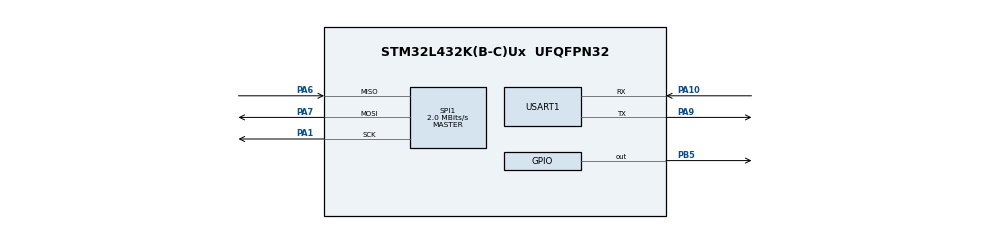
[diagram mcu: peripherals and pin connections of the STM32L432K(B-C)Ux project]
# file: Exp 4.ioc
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Mcu.Family=STM32L4
Mcu.Name=STM32L432K(B-C)Ux
Mcu.Package=UFQFPN32
NVIC.PriorityGroup=NVIC_PRIORITYGROUP_4
NVIC.RCC_IRQn=true\:0\:0\:false\:false\:true\:true\:false
PA1.Mode=Full_Duplex_Master
PA1.Signal=SPI1_SCK
PA10.Mode=Asynchronous
PA10.Signal=USART1_RX
PA13\ (JTMS-SWDIO).Mode=Serial_Wire
PA13\ (JTMS-SWDIO).Signal=SYS_JTMS-SWDIO
PA14\ (JTCK-SWCLK).Mode=Serial_Wire
PA14\ (JTCK-SWCLK).Signal=SYS_JTCK-SWCLK
PA6.Mode=Full_Duplex_Master
PA6.Signal=SPI1_MISO
PA7.Mode=Full_Duplex_Master
PA7.Signal=SPI1_MOSI
PA9.Mode=Asynchronous
PA9.Signal=USART1_TX
PB5.Signal=GPIO_Output
PC14-OSC32_IN\ (PC14).Mode=LSE-External-Oscillator
PC14-OSC32_IN\ (PC14).Signal=RCC_OSC32_IN
PC15-OSC32_OUT\ (PC15).Mode=LSE-External-Oscillator
PC15-OSC32_OUT\ (PC15).Signal=RCC_OSC32_OUT
ProjectManager.HeapSize=0x200
ProjectManager.StackSize=0x400
ProjectManager.TargetToolchain=MDK-ARM V5
RCC.HSE_VALUE=8000000
RCC.HSI48_VALUE=48000000
RCC.HSI_VALUE=16000000
RCC.MSI_VALUE=4000000
RCC.VCOOutputFreq_Value=32000000
SPI1.CalculateBaudRate=2.0 MBits/s
SPI1.Direction=SPI_DIRECTION_2LINES
SPI1.Mode=SPI_MODE_MASTER
SPI1.VirtualType=VM_MASTER
USART1.VirtualMode-Asynchronous=VM_ASYNC
board=custom

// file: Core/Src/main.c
/* USER CODE BEGIN Header */
/**
  ******************************************************************************
  * @file           : main.c
  * @brief          : Main program body
  ******************************************************************************
  * @attention
  *
  * <h2><center>&copy; Copyright (c) 2021 STMicroelectronics.
  * All rights reserved.</center></h2>
  *
  * This software component is licensed by ST under BSD 3-Clause license,
  * the "License"; You may not use this file except in compliance with the
  * License. You may obtain a copy of the License at:
  *                        opensource.org/licenses/BSD-3-Clause
  *
  ******************************************************************************
  */
/* USER CODE END Header */
#include "main.h"

SPI_HandleTypeDef hspi1;

UART_HandleTypeDef huart1;

void SystemClock_Config(void);
static void MX_GPIO_Init(void);
static void MX_SPI1_Init(void);
static void MX_USART1_UART_Init(void);

/* USER CODE BEGIN 0 */
uint8_t hexToAscii(uint8_t n)//4-bit hex value converted to an ascii character
{
 if (n>=0 && n<=9) n = n + '0';
 else n = n - 10 + 'A';
 return n;
}

/* USER CODE END 0 */

int main(void)
{
  /* USER CODE BEGIN 1 */
	volatile int hex_1, hex_2, hex_3;
	uint8_t hex_c_1, hex_c_2, hex_c_3;
	uint8_t newline= 10;
	uint8_t c_r= 13;

  /* USER CODE END 1 */

  /* MCU Configuration--------------------------------------------------------*/

  /* Reset of all peripherals, Initializes the Flash interface and the Systick. */
  HAL_Init();

  /* Configure the system clock */
  SystemClock_Config();

  /* Initialize all configured peripherals */
  MX_GPIO_Init();
  MX_SPI1_Init();
  MX_USART1_UART_Init();

  /* Infinite loop */
  /* USER CODE BEGIN WHILE */
	uint8_t txdata = 0, rxdata;

		HAL_GPIO_WritePin(GPIOB, GPIO_PIN_5, 1);
				HAL_Delay(10);
	HAL_GPIO_WritePin(GPIOB, GPIO_PIN_5, 0);
					HAL_Delay(10);
		HAL_GPIO_WritePin(GPIOB, GPIO_PIN_5, 1);
						HAL_Delay(10);
  while (1)
  {
			HAL_GPIO_WritePin(GPIOB, GPIO_PIN_5, 0);

		txdata = 1;
		HAL_SPI_TransmitReceive(&hspi1,&txdata,&rxdata,1,100);

		txdata = 160;
		HAL_SPI_TransmitReceive(&hspi1,&txdata,&rxdata,1,100);
		hex_1 = rxdata %16;

		txdata = 0;
		HAL_SPI_TransmitReceive(&hspi1,&txdata,&rxdata,1,100);
		hex_3 = rxdata %16;
		hex_2 = rxdata>>4;

		hex_1 = hex_1%16;
		hex_2 = hex_2%16;
		hex_3 = hex_3%16;
		hex_c_1 = hexToAscii(hex_1 );
		hex_c_2 = hexToAscii(hex_2);
		hex_c_3 = hexToAscii(hex_3);

		HAL_UART_Transmit(&huart1,&hex_c_1, 1, 10);
		HAL_UART_Transmit(&huart1,&hex_c_2, 1, 10);
		HAL_UART_Transmit(&huart1,&hex_c_3, 1, 10);
		HAL_UART_Transmit(&huart1,&newline, 1, 10);
		HAL_UART_Transmit(&huart1,&c_r, 1, 10);

		HAL_GPIO_WritePin(GPIOB, GPIO_PIN_5, 1);
						HAL_Delay(10);

    /* USER CODE END WHILE */

  }
}

void SystemClock_Config(void)
{
  RCC_OscInitTypeDef RCC_OscInitStruct = {0};
  RCC_ClkInitTypeDef RCC_ClkInitStruct = {0};
  RCC_PeriphCLKInitTypeDef PeriphClkInit = {0};

  /** Configure LSE Drive Capability
  */
  HAL_PWR_EnableBkUpAccess();
  __HAL_RCC_LSEDRIVE_CONFIG(RCC_LSEDRIVE_LOW);
  /** Initializes the RCC Oscillators according to the specified parameters
  * in the RCC_OscInitTypeDef structure.
  */
  RCC_OscInitStruct.OscillatorType = RCC_OSCILLATORTYPE_LSE|RCC_OSCILLATORTYPE_MSI;
  RCC_OscInitStruct.LSEState = RCC_LSE_ON;
  RCC_OscInitStruct.MSIState = RCC_MSI_ON;
  RCC_OscInitStruct.MSICalibrationValue = 0;
  RCC_OscInitStruct.MSIClockRange = RCC_MSIRANGE_6;
  RCC_OscInitStruct.PLL.PLLState = RCC_PLL_NONE;
  if (HAL_RCC_OscConfig(&RCC_OscInitStruct) != HAL_OK)
  {
    Error_Handler();
  }
  /** Initializes the CPU, AHB and APB buses clocks
  */
  RCC_ClkInitStruct.ClockType = RCC_CLOCKTYPE_HCLK|RCC_CLOCKTYPE_SYSCLK
                              |RCC_CLOCKTYPE_PCLK1|RCC_CLOCKTYPE_PCLK2;
  RCC_ClkInitStruct.SYSCLKSource = RCC_SYSCLKSOURCE_MSI;
  RCC_ClkInitStruct.AHBCLKDivider = RCC_SYSCLK_DIV1;
  RCC_ClkInitStruct.APB1CLKDivider = RCC_HCLK_DIV1;
  RCC_ClkInitStruct.APB2CLKDivider = RCC_HCLK_DIV1;

  if (HAL_RCC_ClockConfig(&RCC_ClkInitStruct, FLASH_LATENCY_0) != HAL_OK)
  {
    Error_Handler();
  }
  PeriphClkInit.PeriphClockSelection = RCC_PERIPHCLK_USART1;
  PeriphClkInit.Usart1ClockSelection = RCC_USART1CLKSOURCE_PCLK2;
  if (HAL_RCCEx_PeriphCLKConfig(&PeriphClkInit) != HAL_OK)
  {
    Error_Handler();
  }
  /** Configure the main internal regulator output voltage
  */
  if (HAL_PWREx_ControlVoltageScaling(PWR_REGULATOR_VOLTAGE_SCALE1) != HAL_OK)
  {
    Error_Handler();
  }
  /** Enable MSI Auto calibration
  */
  HAL_RCCEx_EnableMSIPLLMode();
}

static void MX_SPI1_Init(void)
{

  /* SPI1 parameter configuration*/
  hspi1.Instance = SPI1;
  hspi1.Init.Mode = SPI_MODE_MASTER;
  hspi1.Init.Direction = SPI_DIRECTION_2LINES;
  hspi1.Init.DataSize = SPI_DATASIZE_8BIT;
  hspi1.Init.CLKPolarity = SPI_POLARITY_LOW;
  hspi1.Init.CLKPhase = SPI_PHASE_1EDGE;
  hspi1.Init.NSS = SPI_NSS_SOFT;
  hspi1.Init.BaudRatePrescaler = SPI_BAUDRATEPRESCALER_2;
  hspi1.Init.FirstBit = SPI_FIRSTBIT_MSB;
  hspi1.Init.TIMode = SPI_TIMODE_DISABLE;
  hspi1.Init.CRCCalculation = SPI_CRCCALCULATION_DISABLE;
  hspi1.Init.CRCPolynomial = 7;
  hspi1.Init.CRCLength = SPI_CRC_LENGTH_DATASIZE;
  hspi1.Init.NSSPMode = SPI_NSS_PULSE_ENABLE;
  if (HAL_SPI_Init(&hspi1) != HAL_OK)
  {
    Error_Handler();
  }

}

static void MX_USART1_UART_Init(void)
{

  huart1.Instance = USART1;
  huart1.Init.BaudRate = 115200;
  huart1.Init.WordLength = UART_WORDLENGTH_8B;
  huart1.Init.StopBits = UART_STOPBITS_1;
  huart1.Init.Parity = UART_PARITY_NONE;
  huart1.Init.Mode = UART_MODE_TX_RX;
  huart1.Init.HwFlowCtl = UART_HWCONTROL_NONE;
  huart1.Init.OverSampling = UART_OVERSAMPLING_16;
  huart1.Init.OneBitSampling = UART_ONE_BIT_SAMPLE_DISABLE;
  huart1.AdvancedInit.AdvFeatureInit = UART_ADVFEATURE_NO_INIT;
  if (HAL_UART_Init(&huart1) != HAL_OK)
  {
    Error_Handler();
  }

}

static void MX_GPIO_Init(void)
{
  GPIO_InitTypeDef GPIO_InitStruct = {0};

  /* GPIO Ports Clock Enable */
  __HAL_RCC_GPIOC_CLK_ENABLE();
  __HAL_RCC_GPIOA_CLK_ENABLE();
  __HAL_RCC_GPIOB_CLK_ENABLE();

  /*Configure GPIO pin Output Level */
  HAL_GPIO_WritePin(GPIOB, GPIO_PIN_5, GPIO_PIN_RESET);

  /*Configure GPIO pin : PB5 */
  GPIO_InitStruct.Pin = GPIO_PIN_5;
  GPIO_InitStruct.Mode = GPIO_MODE_OUTPUT_PP;
  GPIO_InitStruct.Pull = GPIO_NOPULL;
  GPIO_InitStruct.Speed = GPIO_SPEED_FREQ_LOW;
  HAL_GPIO_Init(GPIOB, &GPIO_InitStruct);

}

void Error_Handler(void)
{
  __disable_irq();
  while (1)
  {
  }
}

/************************ (C) COPYRIGHT STMicroelectronics *****END OF FILE****/
